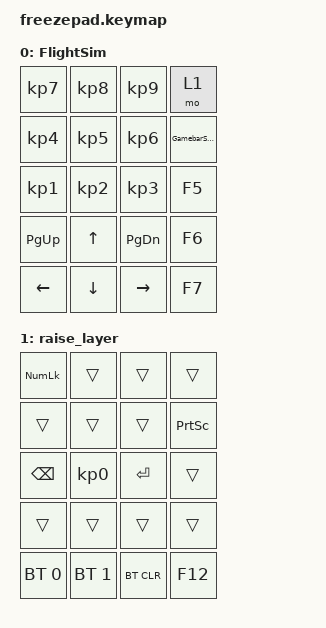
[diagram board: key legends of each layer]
/*
 * Copyright (c) 2020 The ZMK Contributors
 *
 * SPDX-License-Identifier: MIT
 */

#include <behaviors.dtsi>
#include <dt-bindings/zmk/bt.h>
#include <dt-bindings/zmk/keys.h>

/ {
    combos { compatible = "zmk,combos"; };

    macros {
        GamebarScreenshot: GamebarScreenshot {
            compatible = "zmk,behavior-macro";
            #binding-cells = <0>;
            bindings = <&kp LG(LA(PRINTSCREEN))>;
            label = "GAMEBARSCREENSHOT";
        };
    };

    keymap {
        compatible = "zmk,keymap";

        FlightSim {
            // -----------------------------------------------------------------------------------------
            // | TAB  |  Q  |  W  |  E  |  R  |
            // | CTRL |  A  |  S  |  D  |  F  |
            // | GUI  |  Z  |  X  |  C  |  V  |
            // | SHFT |  1  |  2  |  3  |  4  |
            // | ALT  |  M  | SPC | ENT | BSPC|

            bindings = <
&kp KP_NUMBER_7  &kp KP_NUMBER_8  &kp KP_NUMBER_9  &mo 1
&kp KP_NUMBER_4  &kp KP_NUMBER_5  &kp KP_NUMBER_6  &GamebarScreenshot
&kp KP_NUMBER_1  &kp KP_NUMBER_2  &kp KP_NUMBER_3  &kp F5
&kp PAGE_UP      &kp UP_ARROW     &kp PAGE_DOWN    &kp F6
&kp LEFT         &kp DOWN         &kp RIGHT        &kp F7
            >;
        };

        raise_layer {
            // -----------------------------------------------------------------------------------------
            // | TAB  |  !  |  @  |  #  |  $  |
            // | CTRL |  %  |  ^  |  &  |  *  |
            // | GUI  |  (  |  )  |  [  |  ]  |
            // | SHFT |  {  |  }  |  \  |  |  |
            // | ALT  |  ~  |  `  |  -  |  =  |

            bindings = <
&kp KP_NUM     &trans        &trans      &trans
&trans         &trans        &trans      &kp PRINTSCREEN
&kp BACKSPACE  &kp KP_N0     &kp ENTER   &trans
&trans         &trans        &trans      &trans
&bt BT_SEL 0   &bt BT_SEL 1  &bt BT_CLR  &kp F12
            >;
        };
    };

    conditional_layers { compatible = "zmk,conditional-layers"; };
};
